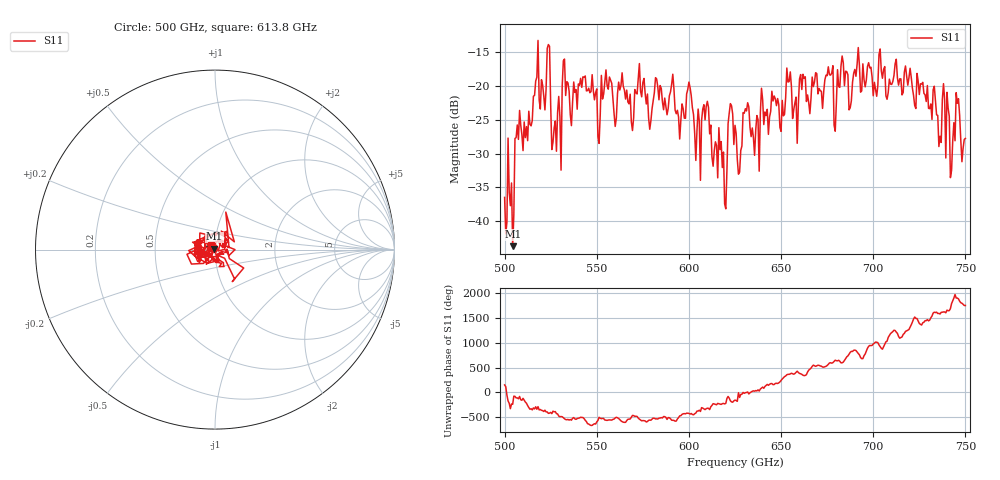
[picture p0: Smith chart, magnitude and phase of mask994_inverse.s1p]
!Created with skrf (http://scikit-rf.org).
# GHz S MA R 50.0
!freq magS11 angS11
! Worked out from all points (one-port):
!   401 points, 500 GHz to 750 GHz, reference 50 ohm
!   lowest |S11| = -43.7 dB at 504.4 GHz (marker M1), VSWR 1.01, Z = 49.7 + j0.554 ohm
!   |S11| at or under -10 dB: start of sweep to end of sweep
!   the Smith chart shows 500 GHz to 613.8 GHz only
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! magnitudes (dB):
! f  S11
! 500 GHz  -36.5
! 504.4 GHz  -43.7
! 506.9 GHz  -25.8
! 513.8 GHz  -25.7
! 516.9 GHz  -19.3
! 523.8 GHz  -13.9
! 526.9 GHz  -26.2
! 531.2 GHz  -20.0
! 562.5 GHz  -20.6
! 579.4 GHz  -25.1
! 590.6 GHz  -19.8
! 593.8 GHz  -23.6
! 600 GHz  -19.4
! 605 GHz  -23.4
! 609.4 GHz  -23.0
! 619.4 GHz  -37.4
! 622.5 GHz  -22.6
! 625 GHz  -25.8
! 627.5 GHz  -32.7
! 630.6 GHz  -23.4
! 636.9 GHz  -24.4
! 656.2 GHz  -24.8
! 680 GHz  -22.5
! 683.8 GHz  -16.6
! 687.5 GHz  -23.2
! 691.2 GHz  -16.8
! 718.8 GHz  -19.9
! 750 GHz  -27.8
